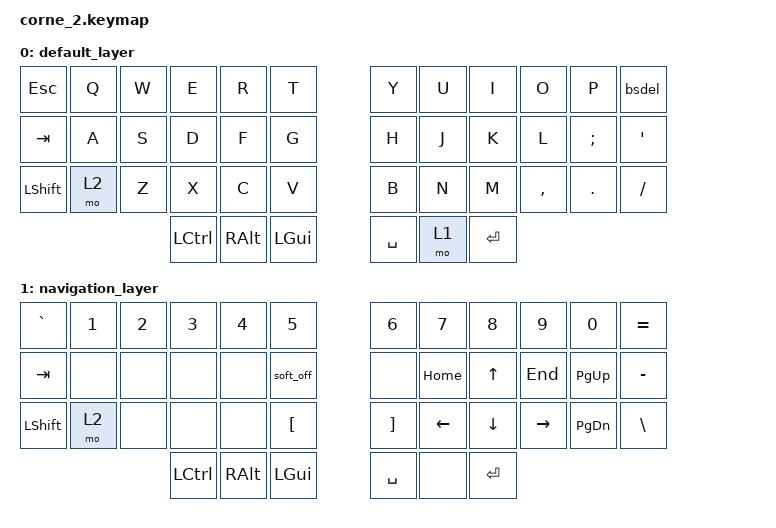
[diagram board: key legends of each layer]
/*
 * Copyright (c) 2020 The ZMK Contributors
 *
 * SPDX-License-Identifier: MIT
 */

#include <behaviors.dtsi>
#include <dt-bindings/zmk/keys.h>
#include <dt-bindings/zmk/bt.h>
#include <dt-bindings/zmk/ext_power.h>
#include <dt-bindings/zmk/outputs.h>

#define MO_TOG(layer) &mo_tog layer layer   // Macro to apply momentary-layer-on-hold/toggle-layer-on-tap to a specific layer
#define DEFAULT 0
#define NAV     1
#define EMP     2
#define CTRL    3


//  
// TESTING - momentary - layer name vs number
// TESTING - SoftOff - tryouts
// TESTING - SoftOff - tryout turn back on 
// TESTING - key rename - shorten names
//     - C_AC_DESKTOP_SHOW_ALL_APPLICATIONS - show_app
//     - C_AC_DESKTOP_SHOW_ALL_WINDOWS - show_wndw
// LOW PRIORITY (Currently resolved) - layer change - combination layer change
// DONE - backspace delete
// DONE - escape grave
// DONE - layer change - number arrow layer
// DID NOT DO - External power - Documentation mentioned it is only for periperals

/ {
    conditional_layers {
        compatible = "zmk,conditional-layers";
        tri_layer {
            if-layers = <1 2>;
            then-layer = <3>;
        };
    };

    behaviors {
        // Rename C_AC_DESKTOP_SHOW_ALL_APPLICATIONS
            ShowApp: show_app {
                compatible = "zmk,behavior-mod-morph";
                #binding-cells = <0>;
                bindings = <&kp C_AC_DESKTOP_SHOW_ALL_APPLICATIONS>, <&kp C_AC_DESKTOP_SHOW_ALL_APPLICATIONS>;
                mods = <(MOD_LGUI)>;
            };
        // Rename C_AC_DESKTOP_SHOW_ALL_WINDOWS
            ShowWndw: show_window {
                compatible = "zmk,behavior-mod-morph";
                #binding-cells = <0>;
                bindings = <&kp C_AC_DESKTOP_SHOW_ALL_WINDOWS>, <&kp C_AC_DESKTOP_SHOW_ALL_WINDOWS>;
                mods = <(MOD_LGUI)>;
            };
        // CMD + BACKSPACE = DELETE
            bsdel: backspace_del {
                compatible = "zmk,behavior-mod-morph";
                #binding-cells = <0>;
                bindings = <&kp BACKSPACE>, <&kp DELETE>;
                mods = <(MOD_LGUI)>;
            };
        // CMD + GRAVE = ESCAPE
            gresc: grave_escape {
                compatible = "zmk,behavior-mod-morph";
                label = "GRAVE_ESCAPE";
                #binding-cells = <0>;
                bindings = <&kp GRAVE>, <&kp ESC>;
                mods = <(MOD_LGUI)>;
            };
    };

    keymap {
        compatible = "zmk,keymap";

        default_layer {
                                                                                                          
            // Normal Layer
                // +--------+--------+--------+--------+--------+--------+      +--------+--------+--------+--------+--------+--------+
                // |  ESC   |   q    |   w    |   e    |   r    |   t    |      |   y    |   u    |   i    |   o    |   p    |  BSPC  |
                // +--------+--------+--------+--------+--------+--------+      +--------+--------+--------+--------+--------+--------+
                // |  TAB   |   a    |   s    |   d    |   f    |   g    |      |   h    |   j    |   k    |   l    |   ;    |   '    |
                // +--------+--------+--------+--------+--------+--------+      +--------+--------+--------+--------+--------+--------+
                // | SHIFT  |  CLYER |   z    |   x    |   c    |   v    |      |   b    |   n    |   m    |   ,    |   .    |   /    |
                // +--------+--------+--------+--------+--------+--------+      +--------+--------+--------+--------+--------+--------+
                //                            |  CTRL  |  OPT   |  CMD   |      |  SPCE  | NLYER  |  ENTR  |
                //                            +--------+--------+--------+      +--------+--------+--------+

            // Shift Layer (Momentary)
                // +--------+--------+--------+--------+--------+--------+      +--------+--------+--------+--------+--------+--------+
                // |  ESC   |   Q    |   W    |   E    |   R    |   T    |      |   Y    |   U    |   I    |   O    |   P    |  BSPC  |
                // +--------+--------+--------+--------+--------+--------+      +--------+--------+--------+--------+--------+--------+
                // |  TAB   |   A    |   S    |   D    |   F    |   G    |      |   H    |   J    |   K    |   L    |   :    |   "    |
                // +--------+--------+--------+--------+--------+--------+      +--------+--------+--------+--------+--------+--------+
                // |        |  LYER2 |   Z    |   X    |   C    |   V    |      |   B    |   N    |   M    |   <    |   >    |   ?    |
                // +--------+--------+--------+--------+--------+--------+      +--------+--------+--------+--------+--------+--------+
                //                            |  CTRL  |  OPT   |  CMD   |      |  SPCE  | LYER1  |  ENTR  |
                //                            +--------+--------+--------+      +--------+--------+--------+
            
            bindings = <
                &kp ESC   &kp Q    &kp W    &kp E     &kp R    &kp T      &kp Y       &kp U       &kp I     &kp O     &kp P    &bsdel
                &kp TAB   &kp A    &kp S    &kp D     &kp F    &kp G      &kp H       &kp J       &kp K     &kp L     &kp SEMI &kp SQT
                &kp LSHFT &mo 2    &kp Z    &kp X     &kp C    &kp V      &kp B       &kp N       &kp M     &kp COMMA &kp DOT  &kp FSLH 
                                            &kp LCTRL &kp RALT &kp LGUI   &kp SPACE   &mo 1       &kp RET
            >;
        };

        navigation_layer {
                                                                                                          
            // Navigation Layer (Momentary)
                // +--------+--------+--------+--------+--------+--------+      +--------+--------+--------+--------+--------+--------+
                // |   `    |   1    |   2    |   3    |   4    |   5    |      |   6    |   7    |   8    |   9    |   0    |   =    |
                // +--------+--------+--------+--------+--------+--------+      +--------+--------+--------+--------+--------+--------+
                // |  TAB   |        |        |        |        |        |      |        |  HOME  |   ^    |  END   | PG UP  |   -    |
                // +--------+--------+--------+--------+--------+--------+      +--------+--------+--------+--------+--------+--------+
                // | SHIFT  | LYER2  |        |        |        |   [    |      |   ]    |   <-   |   v    |  ->    | PG DN  |   \    |
                // +--------+--------+--------+--------+--------+--------+      +--------+--------+--------+--------+--------+--------+
                //                            |  CTRL  |  OPT   |  CMD   |      |  SPCE  |        |  ENTR  |
                //                            +--------+--------+--------+      +--------+--------+--------+

            // Shift Navigation Layer (Momentary)
                // +--------+--------+--------+--------+--------+--------+      +--------+--------+--------+--------+--------+--------+
                // |   ~    |   !    |   @    |   #    |   $    |   %    |      |   ^    |   &    |   *    |   (    |   )    |   +    |
                // +--------+--------+--------+--------+--------+--------+      +--------+--------+--------+--------+--------+--------+
                // |  TAB   |        |        |        |        | SFTOFF |      |        |  HOME  |   ^    |  END   | PG UP  |   _    |
                // +--------+--------+--------+--------+--------+--------+      +--------+--------+--------+--------+--------+--------+
                // |        | LYER2  |        |        |        |   {    |      |   }    |   <-   |   v    |  ->    | PG DN  |   \    |
                // +--------+--------+--------+--------+--------+--------+      +--------+--------+--------+--------+--------+--------+
                //                            |  CTRL  |  OPT   |  CMD   |      |  SPCE  |        |  ENTR  |
                //                            +--------+--------+--------+      +--------+--------+--------+

            bindings = <
                &kp GRAVE &kp N1   &kp N2   &kp N3    &kp N4   &kp N5        &kp N6      &kp N7      &kp N8    &kp N9    &kp N0    &kp EQUAL
                &kp TAB   &none    &none    &none     &none    &soft_off     &none       &kp HOME    &kp UP    &kp END   &kp PG_UP &kp MINUS
                &kp LSHFT &mo 2    &none    &none     &none    &kp LBKT      &kp RBKT    &kp LEFT    &kp DOWN  &kp RIGHT &kp PG_DN &kp BSLH
                                            &kp LCTRL &kp RALT &kp LGUI      &kp SPACE   &none       &kp RET
            >;
        };

            // Empty Layer (Momentary)
                // +--------+--------+--------+--------+--------+--------+      +--------+--------+--------+--------+--------+--------+
                // |        |        |        |        |        |        |      |        |        |        |        |        |        |
                // +--------+--------+--------+--------+--------+--------+      +--------+--------+--------+--------+--------+--------+
                // |        |        |        |        |        |        |      |        |        |        |        |        |        |
                // +--------+--------+--------+--------+--------+--------+      +--------+--------+--------+--------+--------+--------+
                // |        |        |        |        |        |        |      |        |        |        |        |        |        |
                // +--------+--------+--------+--------+--------+--------+      +--------+--------+--------+--------+--------+--------+
                //                            |        |        |        |      |        | SETTNG |        |
                //                            +--------+--------+--------+      +--------+--------+--------+

            
            bindings = <
                &none     &none    &none    &none     &none    &none     &none     &none    &none    &none     &none    &none
                &none     &none    &none    &none     &none    &none     &none     &none    &none    &none     &none    &none
                &none     &none    &none    &none     &none    &none     &none     &none    &none    &none     &none    &none
                                            &none     &none    &none     &none     &mo 1    &none
            >;
        };

        control_layer {
            // Option Lower Layer
                // Potentially swap in F4
                // +--------+--------+--------+--------+--------+--------+      +--------+--------+--------+--------+--------+--------+
                // |  DIM   | BRIGHT | WINDOW |SHOWAPP |  APP   |   F5   |      |  BACK  |  PLAY  |  NEXT  |  MUTE  | V DOWN |  V UP  |
                // +--------+--------+--------+--------+--------+--------+      +--------+--------+--------+--------+--------+--------+
                // |        |  BT1   |  BT2   |  BT3   |  BT4   |  BT5   |      |        |        |        |        |        |        |
                // +--------+--------+--------+--------+--------+--------+      +--------+--------+--------+--------+--------+--------+
                // |        |  USB   |  BLE   |  CLR   |  CPWR  |  KPWR  |      |        |        |        |        |        |        |
                // +--------+--------+--------+--------+--------+--------+      +--------+--------+--------+--------+--------+--------+
                //                            |        |        |        |      |        |        |        |
                //                            +--------+--------+--------+      +--------+--------+--------+

            bindings = <
                &kp C_BRI_DN &kp C_BRI_UP &ShowWndw       &ShowApp     &kp K_APP      &kp F5              &kp C_PREV &kp C_PP &kp C_NEXT &kp C_MUTE &kp C_VOL_DN &kp C_VOL_UP
                &none        &btBT_SEL 0  &bt BT_SEL 1    &bt BT_SEL 2 &bt BT_SEL 3   &bt BT_SEL 4        &none      &none    &none      &none      &none        &none
                &none        &out OUT_USB &out OUT_BLE    &bt BT_CLR   &kp C_PWR      &kp K_PWR           &none      &none    &none      &none      &none        &none
                                                          &none        &none          &none               &none      &none    &none
            >;
        };
    };
};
